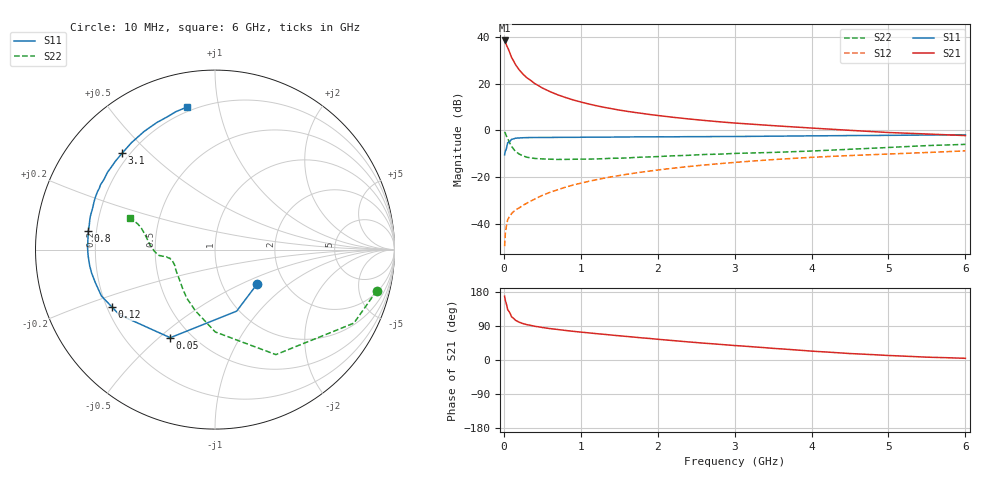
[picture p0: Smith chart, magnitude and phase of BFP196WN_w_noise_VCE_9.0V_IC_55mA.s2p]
! (c) 2017  Infineon Technologies AG, Munich
! Infineon Technologies  Discrete & RF Semiconductors
! BFP196WN
! VCE =  9.0 V,  IC =  55 mA
! Common Emitter S-Parameters:  Jan 2017
# GHz  S  MA  R  50
!  f  S11  S21  S12  S22
! GHz  MAG  ANG  MAG  ANG  MAG  ANG  MAG  ANG
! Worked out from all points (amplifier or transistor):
!   77 points, 10 MHz to 6 GHz, reference 50 ohm
!   highest |S21| = 38.4 dB at 10 MHz (marker M1)
!   |S21| within 3 dB of that: start of sweep to 48.62 MHz
!   unconditionally stable (mu >= 1): 641.4 MHz to 2.654 GHz
!   at 130 MHz: K = 0.54, MSG = 32.0 dB, |S12| = -34.6 dB
!   at 2.2 GHz: K = 1.02, MAG = 10.0 dB, |S12| = -16.1 dB
!   at 6 GHz: K = 0.90, MSG = 3.3 dB, |S12| = -8.7 dB
!   lowest NFmin = 1.34 dB at 450 MHz
!   S11 on the Smith chart (normalised r, x): 10 MHz: 1.46, -0.62; 50 MHz: 0.39, -0.55; 120 MHz: 0.22, -0.25; 800 MHz: 0.17, +0.07; 3.1 GHz: 0.17, +0.41; 6 GHz: 0.18, +0.81
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0.01  0.3031 -39.4  83.16 168.3  0.0034 81.4  0.9304 -14.2
0.02  0.3634 -70.6  76.22 156.7  0.0065 71.2  0.8755 -27.9
0.05  0.5506 -116.9  58.26 132.7  0.0125 54.9  0.6763 -59.9
0.1  0.6451 -145.8  36.12 113.9  0.0168 49.8  0.4589 -89.8
0.12  0.6569 -150.8  31.83 111.0  0.0181 49.2  0.4143 -95.9
0.15  0.6835 -157.8  25.61 105.0  0.02 48.5  0.3587 -107.6
0.2  0.6918 -164.7  19.58 99.7  0.0223 52.1  0.3134 -120.0
0.25  0.6997 -169.2  15.84 96.0  0.0253 53.4  0.2865 -128.2
0.3  0.7039 -172.6  13.28 93.3  0.0282 57.6  0.2683 -135.2
0.4  0.7078 -177.3  10.05 89.0  0.0343 61.8  0.2533 -144.1
0.5  0.7101 179.2  8.063 85.8  0.0412 64.8  0.2474 -150.5
0.6  0.7099 176.2  6.736 82.9  0.048 66.3  0.244 -155.0
0.7  0.7115 173.9  5.767 80.5  0.0543 67.4  0.2406 -158.1
0.8  0.7137 171.5  5.052 78.0  0.0616 68.1  0.2414 -160.2
0.9  0.7132 169.3  4.486 75.7  0.0685 68.0  0.2429 -162.1
1.1  0.7185 165.5  3.684 71.7  0.082 68.4  0.245 -165.4
1.5  0.7245 158.6  2.723 63.9  0.1091 67.0  0.256 -169.3
2.1  0.7321 149.0  1.998 53.0  0.1498 63.7  0.2825 -172.0
3.1  0.7454 134.0  1.404 36.9  0.2142 56.1  0.327 -176.3
4.1  0.7691 119.7  1.101 22.2  0.272 47.8  0.3706 173.9
5.1  0.7884 108.9  0.891 11.1  0.3188 40.3  0.4415 162.5
6  0.8095 101.0  0.777 4.5  0.3667 34.3  0.5046 159.6
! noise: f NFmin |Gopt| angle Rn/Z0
0.45  1.34  0.54  -177  0.05
0.9  1.44  0.57  -170  0.06
1.9  2.36  0.69  -147  0.17
2.4  3.11  0.7  -140  0.29
